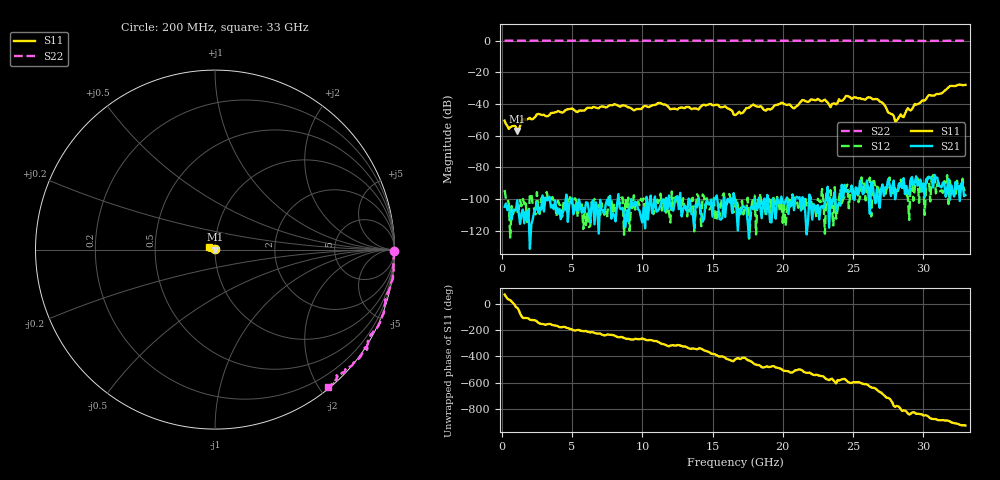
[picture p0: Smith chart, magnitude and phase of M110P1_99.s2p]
# GHZ S RI R 50
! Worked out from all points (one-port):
!   329 points, 200 MHz to 33 GHz, reference 50 ohm
!   lowest |S11| = -57.1 dB at 1.1 GHz (marker M1), VSWR 1.00, Z = 50.1 - j0.0695 ohm
!   |S11| at or under -10 dB: start of sweep to end of sweep
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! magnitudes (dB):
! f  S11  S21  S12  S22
! 200 MHz  -50.6  -105.0  -94.4  0.0
! 1.1 GHz  -57.1  -100.9  -108.9  0.0
! 1.5 GHz  -49.5  -106.7  -100.1  0.0
! 2.5 GHz  -46.5  -102.2  -95.7  0.0
! 5.7 GHz  -44.3  -108.8  -103.5  0.0
! 8 GHz  -40.2  -110.1  -102.9  0.0
! 9.4 GHz  -44.1  -104.2  -97.7  0.0
! 11.2 GHz  -39.3  -106.3  -101.2  -0.1
! 12 GHz  -43.4  -105.0  -115.0  -0.1
! 15.4 GHz  -40.6  -104.6  -102.6  0.0
! 16.6 GHz  -47.0  -100.2  -104.9  0.0
! 17.9 GHz  -40.4  -106.6  -99.0  0.0
! 20.8 GHz  -42.8  -107.2  -100.3  -0.1
! 22.1 GHz  -37.3  -113.1  -105.8  0.0
! 23 GHz  -37.3  -102.1  -122.1  0.0
! 23.4 GHz  -42.0  -100.3  -94.5  0.0
! 24.5 GHz  -34.9  -94.5  -92.9  0.0
! 26.2 GHz  -35.9  -109.5  -86.6  0.0
! 27.6 GHz  -45.7  -90.6  -86.5  -0.1
! 28.1 GHz  -50.7  -94.6  -96.2  -0.1
! 30.4 GHz  -34.4  -86.0  -86.9  -0.2
! 33 GHz  -28.0  -97.7  -94.3  -0.1
